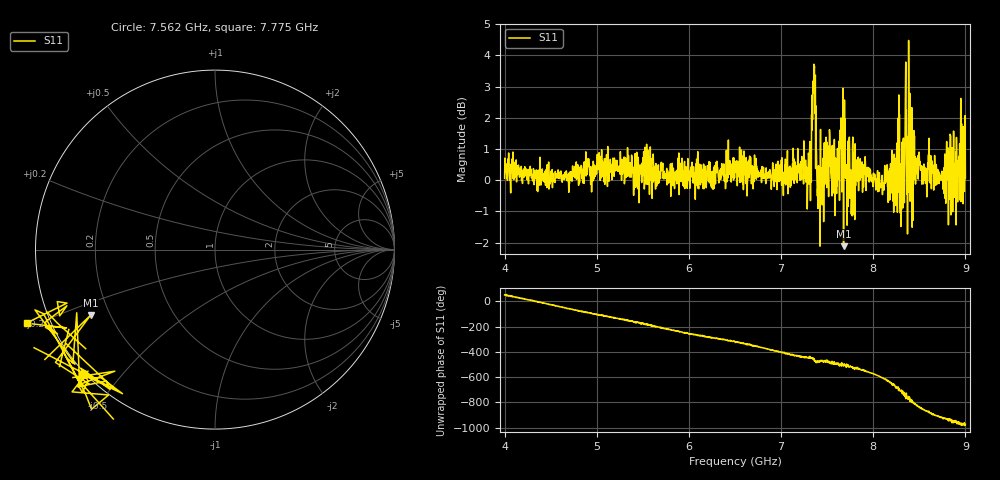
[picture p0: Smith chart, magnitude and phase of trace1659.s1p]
! Created with skrf 1.8.0 (http://scikit-rf.org).
# Hz S RI R 50.0
!freq ReS11 ImS11
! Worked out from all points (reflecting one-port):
!   1601 points, 4 GHz to 9 GHz, reference 50 ohm
!   lowest |S11| = -2.1 dB at 7.678 GHz (marker M1), VSWR 8.26, Z = 6.42 - j12.2 ohm
!   phase of S11 starts at 52 deg and turns -1025 deg over the sweep
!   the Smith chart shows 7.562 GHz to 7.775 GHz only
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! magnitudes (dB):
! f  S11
! 4 GHz  0.1
! 4.625 GHz  -0.1
! 5.25 GHz  0.3
! 5.875 GHz  0.1
! 6.5 GHz  0.6
! 7.125 GHz  0.5
! 7.303 GHz  0.2
! 7.356 GHz  3.7
! 7.4 GHz  -0.9
! 7.412 GHz  -0.2
! 7.509 GHz  0.1
! 7.584 GHz  -1.1
! 7.65 GHz  2.0
! 7.678 GHz  -2.1
! 7.75 GHz  0.2
! 8.094 GHz  -0.2
! 8.238 GHz  0.7
! 8.259 GHz  1.0
! 8.312 GHz  1.2
! 8.334 GHz  -0.4
! 8.375 GHz  1.4
! 8.447 GHz  1.4
! 8.562 GHz  0.0
! 8.766 GHz  0.4
! 8.816 GHz  -1.4
! 8.869 GHz  -0.4
! 8.972 GHz  0.4
! 9 GHz  0.1
